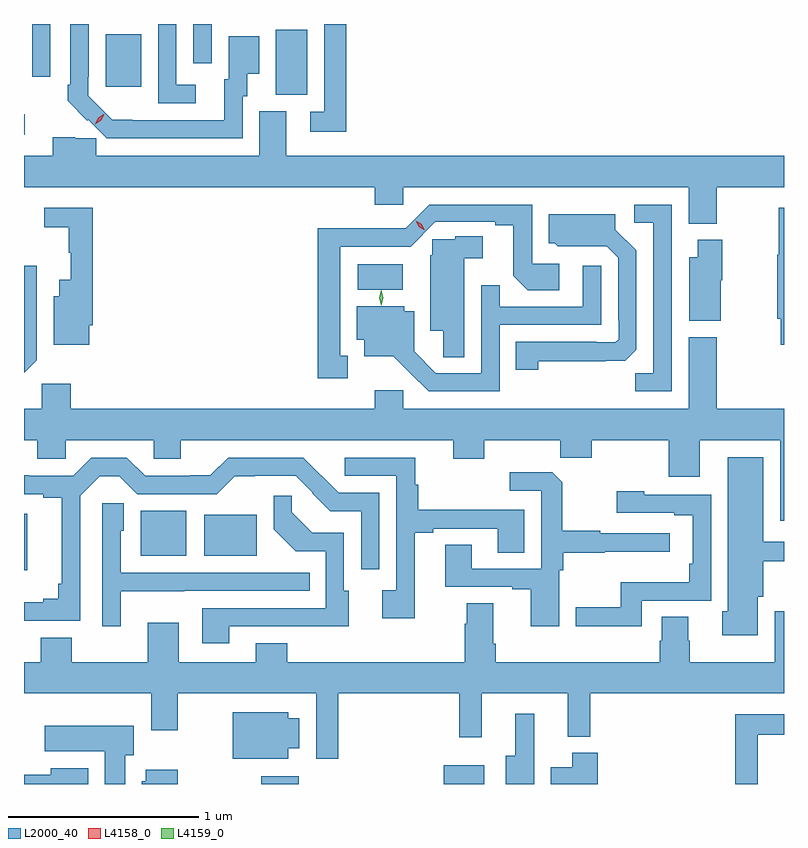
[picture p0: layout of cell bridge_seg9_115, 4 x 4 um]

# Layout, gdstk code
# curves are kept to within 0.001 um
import gdstk
lib = gdstk.Library(unit=1e-6, precision=1e-09)
def R(c, l, rs):  # rectangles x0, y0, x1, y1
    for r in rs: c.add(gdstk.rectangle(r[:2], r[2:], *l))
def P(c, l, *ps):  # polygons
    for p in ps: c.add(gdstk.Polygon(p, *l))
L2000_40 = (2000, 40)
L4158_0 = (4158, 0)
L4159_0 = (4159, 0)

bridge_seg9_115 = lib.new_cell('bridge_seg9_115')
R(bridge_seg9_115, L2000_40, [(639.477,1173.298,639.673,1173.34), (640.436,1173.298,640.651,1173.397), (638.228,1174.424,638.245,1174.72), (638.843,1174.499,639.082,1174.735), (639.176,1174.499,639.454,1174.714), (639.984,1175.9,640.222,1176.034), (638.228,1176.714,638.233,1176.823), (639.554,1176.925,639.718,1177.268), (638.657,1176.969,638.845,1177.243), (638.271,1177.02,638.367,1177.298), (639.12,1177.092,639.216,1177.298)])
P(bridge_seg9_115, L2000_40, [(639.923,1177.298),(639.807,1177.298),(639.807,1176.837),(639.735,1176.837),(639.735,1176.732),(639.923,1176.732)],
  [(639.378,1176.918),(639.403,1176.918),(639.403,1177.037),(639.466,1177.037),(639.466,1177.234),(639.305,1177.234),(639.305,1177.008),(639.281,1177.008),(639.281,1176.792),(638.693,1176.793),(638.565,1176.921),(638.565,1177.021),(638.568,1177.021),(638.568,1177.298),(638.472,1177.298),(638.472,1176.979),(638.457,1176.979),(638.457,1176.893),(638.562,1176.788),(638.567,1176.794),(638.664,1176.696),(639.378,1176.696)],
  [(639.133,1176.978),(639.03,1176.978),(639.03,1177.298),(638.934,1177.298),(638.934,1176.882),(639.133,1176.882)],
  [(641.874,1176.44),(642.228,1176.44),(642.228,1176.604),(639.607,1176.604),(639.607,1176.84),(639.467,1176.84),(639.467,1176.604),(638.607,1176.604),(638.607,1176.696),(638.498,1176.696),(638.498,1176.703),(638.378,1176.703),(638.378,1176.604),(638.228,1176.604),(638.228,1176.44),(640.073,1176.44),(640.073,1176.347),(640.224,1176.347),(640.224,1176.44),(641.726,1176.44),(641.726,1176.248),(641.874,1176.248)],
  [(639.931,1175.553),(639.892,1175.553),(639.892,1176.126),(640.263,1176.126),(640.393,1176.256),(640.709,1176.256),(640.709,1176.24),(640.803,1176.24),(640.803,1175.972),(640.879,1175.896),(641.044,1175.896),(641.044,1176.036),(640.902,1176.036),(640.902,1176.348),(640.362,1176.348),(640.236,1176.222),(640.014,1176.222),(640.014,1176.224),(639.774,1176.224),(639.774,1175.433),(639.931,1175.433)],
  [(641.637,1176.348),(641.439,1176.348),(641.439,1176.252),(641.541,1176.252),(641.541,1175.459),(641.446,1175.459),(641.446,1175.364),(641.637,1175.364)],
  [(638.572,1175.713),(638.591,1175.713),(638.591,1176.33),(638.334,1176.33),(638.334,1176.229),(638.463,1176.229),(638.463,1176.093),(638.474,1176.093),(638.474,1175.953),(638.414,1175.953),(638.414,1175.866),(638.384,1175.866),(638.384,1175.609),(638.572,1175.609)],
  [(642.228,1176.33),(642.201,1176.33),(642.201,1176.084),(642.193,1176.084),(642.193,1175.748),(642.212,1175.748),(642.212,1175.609),(642.228,1175.609)],
  [(640.935,1175.524),(641.392,1175.525),(641.451,1175.584),(641.451,1176.106),(641.341,1176.216),(641.341,1176.298),(640.991,1176.298),(640.991,1176.144),(641.022,1176.144),(641.038,1176.128),(641.295,1176.129),(641.355,1176.069),(641.355,1175.74),(641.358,1175.74),(641.358,1175.64),(641.34,1175.622),(641.24,1175.622),(641.24,1175.625),(640.816,1175.625),(640.816,1175.478),(640.935,1175.478)],
  [(640.546,1176.065),(640.642,1176.065),(640.642,1176.18),(640.498,1176.18),(640.498,1176.166),(640.376,1176.166),(640.376,1176.081),(640.366,1176.081),(640.366,1175.684),(640.435,1175.684),(640.435,1175.545),(640.546,1175.545)],
  [(641.896,1175.949),(641.904,1175.949),(641.904,1176.163),(641.774,1176.163),(641.774,1176.07),(641.729,1176.07),(641.729,1175.735),(641.896,1175.735)],
  [(638.295,1175.529),(638.295,1176.025),(638.228,1176.025),(638.228,1175.462)],
  [(640.731,1175.715),(641.265,1175.715),(641.265,1176.025),(641.169,1176.025),(641.169,1175.811),(640.733,1175.811),(640.733,1175.924),(640.635,1175.924),(640.635,1175.46),(640.395,1175.46),(640.281,1175.575),(640.281,1175.785),(640.23,1175.785),(640.23,1175.812),(639.98,1175.812),(639.98,1175.636),(640.019,1175.636),(640.019,1175.549),(640.171,1175.549),(640.358,1175.364),(640.731,1175.364)],
  [(642.228,1175.272),(641.874,1175.272),(641.874,1175.65),(641.726,1175.65),(641.726,1175.272),(640.224,1175.272),(640.224,1175.37),(640.073,1175.37),(640.073,1175.272),(638.474,1175.272),(638.474,1175.404),(638.322,1175.404),(638.322,1175.272),(638.228,1175.272),(638.228,1175.108),(638.297,1175.108),(638.297,1175.01),(638.448,1175.01),(638.448,1175.108),(638.91,1175.108),(638.91,1175.01),(639.052,1175.01),(639.052,1175.108),(640.487,1175.108),(640.487,1175.009),(640.651,1175.009),(640.651,1175.108),(641.051,1175.108),(641.051,1175.015),(641.215,1175.015),(641.215,1175.108),(641.621,1175.108),(641.621,1174.914),(641.785,1174.914),(641.785,1175.108),(642.209,1175.108),(642.209,1174.683),(642.228,1174.683)],
  [(642.091,1174.284),(642.118,1174.284),(642.118,1174.471),(642.228,1174.471),(642.228,1174.572),(642.118,1174.572),(642.118,1175.017),(641.933,1175.017),(641.933,1174.208),(641.903,1174.208),(641.903,1174.082),(642.091,1174.082)],
  [(640.285,1174.621),(640.381,1174.621),(640.381,1174.641),(640.721,1174.641),(640.721,1174.516),(640.861,1174.516),(640.861,1174.742),(640.304,1174.742),(640.304,1174.874),(640.286,1174.874),(640.286,1175.016),(639.915,1175.016),(639.915,1174.92),(640.188,1174.92),(640.188,1174.318),(640.113,1174.318),(640.113,1174.17),(640.285,1174.17)],
  [(638.523,1174.815),(638.627,1174.919),(638.728,1174.919),(638.823,1174.824),(639.243,1174.824),(639.338,1174.919),(639.657,1174.92),(639.747,1174.83),(639.745,1174.828),(639.839,1174.734),(640.002,1174.734),(640.002,1174.428),(640.098,1174.428),(640.098,1174.83),(639.885,1174.83),(639.697,1175.016),(639.303,1175.016),(639.209,1174.922),(639.104,1174.922),(639.104,1174.92),(638.865,1174.92),(638.769,1175.016),(638.582,1175.016),(638.486,1174.92),(638.253,1174.92),(638.253,1174.922),(638.228,1174.922),(638.228,1174.824),(638.33,1174.824),(638.33,1174.804),(638.426,1174.804),(638.426,1174.351),(638.407,1174.351),(638.407,1174.274),(638.33,1174.274),(638.33,1174.255),(638.228,1174.255),(638.228,1174.158),(638.523,1174.158)],
  [(641.046,1174.424),(641.066,1174.424),(641.066,1174.516),(641.285,1174.516),(641.285,1174.52),(641.626,1174.52),(641.626,1174.617),(641.261,1174.617),(641.261,1174.63),(641.061,1174.63),(641.061,1174.887),(641.009,1174.939),(640.785,1174.939),(640.785,1174.842),(640.95,1174.842),(640.95,1174.431),(640.585,1174.431),(640.585,1174.556),(640.445,1174.556),(640.445,1174.335),(640.799,1174.335),(640.799,1174.323),(640.895,1174.323),(640.895,1174.128),(641.046,1174.128)],
  [(641.478,1174.263),(641.844,1174.263),(641.844,1174.821),(641.493,1174.821),(641.493,1174.84),(641.349,1174.84),(641.349,1174.725),(641.651,1174.725),(641.651,1174.713),(641.748,1174.713),(641.748,1174.456),(641.728,1174.456),(641.728,1174.36),(641.37,1174.36),(641.37,1174.229),(641.133,1174.229),(641.133,1174.127),(641.478,1174.127)],
  [(639.307,1174.128),(639.937,1174.127),(639.937,1174.314),(639.912,1174.314),(639.912,1174.62),(639.746,1174.62),(639.638,1174.728),(639.638,1174.816),(639.543,1174.816),(639.543,1174.64),(639.659,1174.524),(639.816,1174.524),(639.816,1174.224),(639.167,1174.224),(639.167,1174.038),(639.307,1174.038)],
  [(638.737,1174.313),(639.071,1174.313),(639.071,1174.314),(639.731,1174.314),(639.731,1174.41),(638.736,1174.41),(638.736,1174.632),(638.752,1174.632),(638.752,1174.775),(638.64,1174.775),(638.64,1174.128),(638.737,1174.128)],
  [(639.881,1173.776),(640.519,1173.776),(640.519,1173.543),(640.637,1173.543),(640.637,1173.776),(641.09,1173.776),(641.09,1173.548),(641.207,1173.548),(641.207,1173.776),(642.228,1173.776),(642.228,1174.207),(642.179,1174.207),(642.179,1173.94),(641.733,1173.94),(641.733,1174.053),(641.725,1174.053),(641.725,1174.178),(641.585,1174.178),(641.585,1174.053),(641.573,1174.053),(641.573,1173.94),(640.712,1173.94),(640.712,1174.036),(640.699,1174.036),(640.699,1174.25),(640.559,1174.25),(640.559,1174.142),(640.547,1174.142),(640.547,1173.94),(639.613,1173.94),(639.613,1174.039),(639.449,1174.039),(639.449,1173.94),(639.043,1173.94),(639.043,1174.147),(638.879,1174.147),(638.879,1173.94),(638.479,1173.94),(638.479,1174.069),(638.315,1174.069),(638.315,1173.94),(638.228,1173.94),(638.228,1173.776),(638.897,1173.776),(638.897,1173.582),(639.037,1173.582),(639.037,1173.776),(639.765,1173.776),(639.765,1173.432),(639.881,1173.432)],
  [(639.619,1173.485),(639.676,1173.485),(639.676,1173.643),(639.619,1173.643),(639.619,1173.676),(639.326,1173.676),(639.326,1173.431),(639.619,1173.431)],
  [(640.913,1173.667),(640.814,1173.667),(640.814,1173.448),(640.763,1173.448),(640.763,1173.298),(640.913,1173.298)],
  [(642.089,1173.558),(642.228,1173.558),(642.228,1173.666),(641.971,1173.666),(641.971,1173.298),(642.089,1173.298)],
  [(638.761,1173.45),(638.806,1173.45),(638.806,1173.604),(638.337,1173.604),(638.337,1173.47),(638.654,1173.47),(638.654,1173.298),(638.761,1173.298)],
  [(641.249,1173.463),(641.114,1173.463),(641.114,1173.385),(641,1173.385),(641,1173.298),(641.249,1173.298)],
  [(638.566,1173.382),(638.369,1173.382),(638.369,1173.346),(638.228,1173.346),(638.228,1173.298),(638.566,1173.298)],
  [(639.036,1173.373),(638.87,1173.373),(638.87,1173.312),(638.849,1173.312),(638.849,1173.298),(639.036,1173.298)])
P(bridge_seg9_115, L4158_0, [(640.336,1176.213),(640.306,1176.231),(640.29,1176.263),(640.29,1176.263),(640.291,1176.263),(640.321,1176.245),(640.336,1176.213),(640.336,1176.213)],
  [(638.603,1176.77),(638.603,1176.771),(638.619,1176.804),(638.649,1176.824),(638.65,1176.824),(638.65,1176.824),(638.634,1176.791),(638.603,1176.77)])
P(bridge_seg9_115, L4159_0, [(640.107,1175.817),(640.098,1175.858),(640.108,1175.898),(640.108,1175.899),(640.108,1175.898),(640.118,1175.858),(640.108,1175.817),(640.108,1175.817)])

lib.write_gds('bridge_seg9_115.gds')
